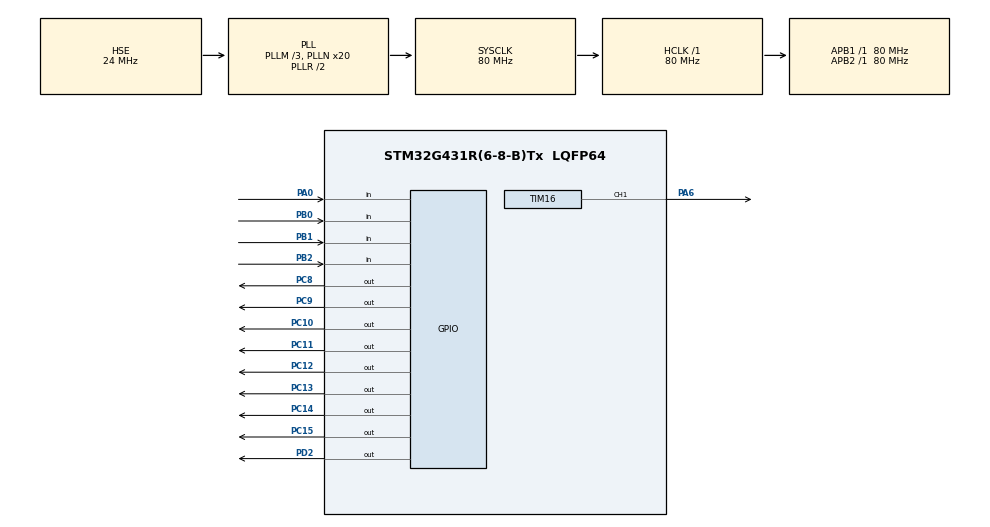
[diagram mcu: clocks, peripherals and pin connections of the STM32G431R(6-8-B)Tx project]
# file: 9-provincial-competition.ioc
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Mcu.Family=STM32G4
Mcu.Name=STM32G431R(6-8-B)Tx
Mcu.Package=LQFP64
NVIC.PriorityGroup=NVIC_PRIORITYGROUP_4
NVIC.TIM2_IRQn=true\:0\:0\:false\:false\:true\:true\:true\:true
NVIC.TIM4_IRQn=true\:0\:0\:false\:false\:true\:true\:true\:true
PA0.GPIO_PuPd=GPIO_PULLUP
PA0.Signal=GPIO_Input
PA13.Mode=Serial_Wire
PA13.Signal=SYS_JTMS-SWDIO
PA14.Mode=Serial_Wire
PA14.Signal=SYS_JTCK-SWCLK
PA6.Signal=S_TIM16_CH1
PB0.GPIO_PuPd=GPIO_PULLUP
PB0.Signal=GPIO_Input
PB1.GPIO_PuPd=GPIO_PULLUP
PB1.Signal=GPIO_Input
PB2.GPIO_PuPd=GPIO_PULLUP
PB2.Signal=GPIO_Input
PC10.PinState=GPIO_PIN_SET
PC10.Signal=GPIO_Output
PC11.PinState=GPIO_PIN_SET
PC11.Signal=GPIO_Output
PC12.PinState=GPIO_PIN_SET
PC12.Signal=GPIO_Output
PC13.PinState=GPIO_PIN_SET
PC13.Signal=GPIO_Output
PC14-OSC32_IN.PinState=GPIO_PIN_SET
PC14-OSC32_IN.Signal=GPIO_Output
PC15-OSC32_OUT.PinState=GPIO_PIN_SET
PC15-OSC32_OUT.Signal=GPIO_Output
PC8.PinState=GPIO_PIN_SET
PC8.Signal=GPIO_Output
PC9.PinState=GPIO_PIN_SET
PC9.Signal=GPIO_Output
PD2.Signal=GPIO_Output
PF0-OSC_IN.Mode=HSE-External-Oscillator
PF0-OSC_IN.Signal=RCC_OSC_IN
PF1-OSC_OUT.Mode=HSE-External-Oscillator
PF1-OSC_OUT.Signal=RCC_OSC_OUT
ProjectManager.HeapSize=0x200
ProjectManager.StackSize=0x400
ProjectManager.TargetToolchain=MDK-ARM V5.32
RCC.ADC12Freq_Value=80000000
RCC.AHBFreq_Value=80000000
RCC.APB1Freq_Value=80000000
RCC.APB1TimFreq_Value=80000000
RCC.APB2Freq_Value=80000000
RCC.APB2TimFreq_Value=80000000
RCC.CortexFreq_Value=80000000
RCC.EXTERNAL_CLOCK_VALUE=12288000
RCC.HCLKFreq_Value=80000000
RCC.HSE_VALUE=24000000
RCC.HSI48_VALUE=48000000
RCC.HSI_VALUE=16000000
RCC.LSE_VALUE=32768
RCC.PLLM=RCC_PLLM_DIV3
RCC.PLLN=20
RCC.PLLSourceVirtual=RCC_PLLSOURCE_HSE
RCC.RTCClockSelection=RCC_RTCCLKSOURCE_HSE_DIV32
RCC.SYSCLKFreq_VALUE=80000000
RCC.SYSCLKSource=RCC_SYSCLKSOURCE_PLLCLK
RCC.USBFreq_Value=80000000
RCC.VCOOutputFreq_Value=160000000
SH.S_TIM16_CH1.0=TIM16_CH1,PWM Generation1 CH1
TIM16.Channel=TIM_CHANNEL_1
TIM16.PeriodNoDither=100-1
TIM16.Prescaler=800-1
TIM2.PeriodNoDither=10000-1
TIM2.Prescaler=4000-1
TIM3.PeriodNoDither=65535
TIM3.Prescaler=8000-1
TIM4.PeriodNoDither=10000-1
TIM4.Prescaler=8000-1
VP_SYS_VS_DBSignals.Mode=DisableDeadBatterySignals
VP_TIM16_VS_ClockSourceINT.Mode=Enable_Timer
VP_TIM2_VS_ClockSourceINT.Mode=Internal
VP_TIM3_VS_ClockSourceINT.Mode=Internal
VP_TIM4_VS_ClockSourceINT.Mode=Internal
board=custom

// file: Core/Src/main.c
/* USER CODE BEGIN Header */
/**
  ******************************************************************************
  * @file           : main.c
  * @brief          : Main program body
  ******************************************************************************
  * @attention
  *
  * Copyright (c) 2025 STMicroelectronics.
  * All rights reserved.
  *
  * This software is licensed under terms that can be found in the LICENSE file
  * in the root directory of this software component.
  * If no LICENSE file comes with this software, it is provided AS-IS.
  *
  ******************************************************************************
  */
/* USER CODE END Header */
#include "main.h"
#include "tim.h"
#include "gpio.h"

/* USER CODE BEGIN Includes */
#include "stdio.h"
#include "stdint.h"
#include "string.h"
#include "lcd.h"
#include "i2c_hal.h"
/* USER CODE END Includes */

/* USER CODE BEGIN PV */
char text[20];
char* state[4] = {"Standby", "Running", "Pause", "Setting"};
uint8_t page=1; // 定义显示的LCD页码
uint8_t num[3]; // 存储时间
uint8_t tim_state, tim_temp;  // 标识定时器工作状态 0-关闭 1-开启 2-暂停 3-设置
uint8_t key_val, key_up, key_down, key_last_val;
uint8_t led_mode;
uint8_t first_1=1, first_2=1, first_3=1, first_4=1, first_5=1;  // 记录是否第一次
uint8_t B2_flag;  // 记录指向哪一个 0、1、2
uint8_t hours, minutes, seconds;
/* USER CODE END PV */

void SystemClock_Config(void);
/* USER CODE BEGIN PFP */
void LCD_Proc(void);
void KEY_Proc(void);
void TIM_Proc(void);
void LED_Show(uint8_t led, uint8_t led_mode);
/* USER CODE END PFP */

int main(void)
{

  /* MCU Configuration--------------------------------------------------------*/

  /* Reset of all peripherals, Initializes the Flash interface and the Systick. */
  HAL_Init();

  /* Configure the system clock */
  SystemClock_Config();

  /* Initialize all configured peripherals */
  MX_GPIO_Init();
  MX_TIM2_Init();
  MX_TIM3_Init();
  MX_TIM16_Init();
  MX_TIM4_Init();
  /* USER CODE BEGIN 2 */
  /*    TIM2-----用于LED
        TIM3-----用于按键
        TIM4-----用于计时
        TIM16----用于PWM PA6
  */
    // LCD
    LCD_Init();
    LCD_Clear(Black);
    LCD_SetBackColor(Black);
    LCD_SetTextColor(White);
    // I2C
    I2CInit();
    // TIM
    HAL_TIM_Base_Start(&htim3);
  /* USER CODE END 2 */

  /* Infinite loop */
  /* USER CODE BEGIN WHILE */
  while (1)
  {
      LCD_Proc();
      KEY_Proc();
      TIM_Proc();
    /* USER CODE END WHILE */

  }
}

void SystemClock_Config(void)
{
  RCC_OscInitTypeDef RCC_OscInitStruct = {0};
  RCC_ClkInitTypeDef RCC_ClkInitStruct = {0};

  /** Configure the main internal regulator output voltage
  */
  HAL_PWREx_ControlVoltageScaling(PWR_REGULATOR_VOLTAGE_SCALE1);

  /** Initializes the RCC Oscillators according to the specified parameters
  * in the RCC_OscInitTypeDef structure.
  */
  RCC_OscInitStruct.OscillatorType = RCC_OSCILLATORTYPE_HSE;
  RCC_OscInitStruct.HSEState = RCC_HSE_ON;
  RCC_OscInitStruct.PLL.PLLState = RCC_PLL_ON;
  RCC_OscInitStruct.PLL.PLLSource = RCC_PLLSOURCE_HSE;
  RCC_OscInitStruct.PLL.PLLM = RCC_PLLM_DIV3;
  RCC_OscInitStruct.PLL.PLLN = 20;
  RCC_OscInitStruct.PLL.PLLP = RCC_PLLP_DIV2;
  RCC_OscInitStruct.PLL.PLLQ = RCC_PLLQ_DIV2;
  RCC_OscInitStruct.PLL.PLLR = RCC_PLLR_DIV2;
  if (HAL_RCC_OscConfig(&RCC_OscInitStruct) != HAL_OK)
  {
    Error_Handler();
  }

  /** Initializes the CPU, AHB and APB buses clocks
  */
  RCC_ClkInitStruct.ClockType = RCC_CLOCKTYPE_HCLK|RCC_CLOCKTYPE_SYSCLK
                              |RCC_CLOCKTYPE_PCLK1|RCC_CLOCKTYPE_PCLK2;
  RCC_ClkInitStruct.SYSCLKSource = RCC_SYSCLKSOURCE_PLLCLK;
  RCC_ClkInitStruct.AHBCLKDivider = RCC_SYSCLK_DIV1;
  RCC_ClkInitStruct.APB1CLKDivider = RCC_HCLK_DIV1;
  RCC_ClkInitStruct.APB2CLKDivider = RCC_HCLK_DIV1;

  if (HAL_RCC_ClockConfig(&RCC_ClkInitStruct, FLASH_LATENCY_2) != HAL_OK)
  {
    Error_Handler();
  }
}

/* USER CODE BEGIN 4 */
void LED_Show(uint8_t led, uint8_t led_mode){
    HAL_GPIO_WritePin(GPIOC, 0xfe<<8, GPIO_PIN_SET);
    if(led_mode){
        HAL_GPIO_WritePin(GPIOC, led<<8, GPIO_PIN_RESET);
        HAL_GPIO_WritePin(GPIOD, GPIO_PIN_2, GPIO_PIN_SET);
        HAL_GPIO_WritePin(GPIOD, GPIO_PIN_2, GPIO_PIN_RESET);
    }else{
        HAL_GPIO_WritePin(GPIOC, led<<8, GPIO_PIN_SET);
        HAL_GPIO_WritePin(GPIOD, GPIO_PIN_2, GPIO_PIN_SET);
        HAL_GPIO_WritePin(GPIOD, GPIO_PIN_2, GPIO_PIN_RESET);
    }
}
void LCD_Proc(void){
    if(page==1){
        if(first_1){
            EEPROM_Read(0, num);
            first_1=0;
        }
        sprintf(text, "    No %d            ", page);
        LCD_DisplayStringLine(Line2, (uint8_t*)text);
        sprintf(text, "      %s      ", state[tim_state]);
        LCD_DisplayStringLine(Line6, (uint8_t*)text);
        if(tim_state==3 && B2_flag==0){
            LCD_SetBackColor(Red);
        }else{
            LCD_SetBackColor(Black);
        }
        LCD_DisplayChar(Line4 , (320 - (16 * 6)) , num[0]/10 + 0x30);
        LCD_DisplayChar(Line4 , (320 - (16 * 7)) , num[0]%10 + 0x30);
        if(tim_state==3 && B2_flag==1){
            LCD_SetBackColor(Red);
        }else{
            LCD_SetBackColor(Black);
        }
        LCD_DisplayChar(Line4 , (320 - (16 * 9)) , num[1]/10 + 0x30);
        LCD_DisplayChar(Line4 , (320 - (16 * 10)) , num[1]%10 + 0x30);
        if(tim_state==3 && B2_flag==2){
            LCD_SetBackColor(Red);
        }else{
            LCD_SetBackColor(Black);
        }
        LCD_DisplayChar(Line4 , (320 - (16 * 12)) , num[2]/10 + 0x30);
        LCD_DisplayChar(Line4 , (320 - (16 * 13)) , num[2]%10 + 0x30);
        LCD_SetBackColor(Black);
        LCD_DisplayChar(Line4 , (320 - (16 * 8)) , ':');
        LCD_DisplayChar(Line4 , (320 - (16 * 11)) , ':');
    }
    if(page==2){
        if(first_2){
            EEPROM_Read(3, num);
            first_2=0;
        }
        sprintf(text, "    No %d            ", page);
        LCD_DisplayStringLine(Line2, (uint8_t*)text);
        sprintf(text, "      %s      ", state[tim_state]);
        LCD_DisplayStringLine(Line6, (uint8_t*)text);
        if(tim_state==3 && B2_flag==0){
            LCD_SetBackColor(Red);
        }else{
            LCD_SetBackColor(Black);
        }
        LCD_DisplayChar(Line4 , (320 - (16 * 6)) , num[0]/10 + 0x30);
        LCD_DisplayChar(Line4 , (320 - (16 * 7)) , num[0]%10 + 0x30);
        if(tim_state==3 && B2_flag==1){
            LCD_SetBackColor(Red);
        }else{
            LCD_SetBackColor(Black);
        }
        LCD_DisplayChar(Line4 , (320 - (16 * 9)) , num[1]/10 + 0x30);
        LCD_DisplayChar(Line4 , (320 - (16 * 10)) , num[1]%10 + 0x30);
        if(tim_state==3 && B2_flag==2){
            LCD_SetBackColor(Red);
        }else{
            LCD_SetBackColor(Black);
        }
        LCD_DisplayChar(Line4 , (320 - (16 * 12)) , num[2]/10 + 0x30);
        LCD_DisplayChar(Line4 , (320 - (16 * 13)) , num[2]%10 + 0x30);
        LCD_SetBackColor(Black);
        LCD_DisplayChar(Line4 , (320 - (16 * 8)) , ':');
        LCD_DisplayChar(Line4 , (320 - (16 * 11)) , ':');
    }
    if(page==3){
        if(first_3){
            EEPROM_Read(6, num);
            first_3=0;
        }
        sprintf(text, "    No %d            ", page);
        LCD_DisplayStringLine(Line2, (uint8_t*)text);
        sprintf(text, "      %s      ", state[tim_state]);
        LCD_DisplayStringLine(Line6, (uint8_t*)text);
        if(tim_state==3 && B2_flag==0){
            LCD_SetBackColor(Red);
        }else{
            LCD_SetBackColor(Black);
        }
        LCD_DisplayChar(Line4 , (320 - (16 * 6)) , num[0]/10 + 0x30);
        LCD_DisplayChar(Line4 , (320 - (16 * 7)) , num[0]%10 + 0x30);
        if(tim_state==3 && B2_flag==1){
            LCD_SetBackColor(Red);
        }else{
            LCD_SetBackColor(Black);
        }
        LCD_DisplayChar(Line4 , (320 - (16 * 9)) , num[1]/10 + 0x30);
        LCD_DisplayChar(Line4 , (320 - (16 * 10)) , num[1]%10 + 0x30);
        if(tim_state==3 && B2_flag==2){
            LCD_SetBackColor(Red);
        }else{
            LCD_SetBackColor(Black);
        }
        LCD_DisplayChar(Line4 , (320 - (16 * 12)) , num[2]/10 + 0x30);
        LCD_DisplayChar(Line4 , (320 - (16 * 13)) , num[2]%10 + 0x30);
        LCD_SetBackColor(Black);
        LCD_DisplayChar(Line4 , (320 - (16 * 8)) , ':');
        LCD_DisplayChar(Line4 , (320 - (16 * 11)) , ':');
    }
    if(page==4){
        if(first_4){
            EEPROM_Read(9, num);
            first_4=0;
        }
        sprintf(text, "    No %d            ", page);
        LCD_DisplayStringLine(Line2, (uint8_t*)text);
        sprintf(text, "      %s      ", state[tim_state]);
        LCD_DisplayStringLine(Line6, (uint8_t*)text);
        if(tim_state==3 && B2_flag==0){
            LCD_SetBackColor(Red);
        }else{
            LCD_SetBackColor(Black);
        }
        LCD_DisplayChar(Line4 , (320 - (16 * 6)) , num[0]/10 + 0x30);
        LCD_DisplayChar(Line4 , (320 - (16 * 7)) , num[0]%10 + 0x30);
        if(tim_state==3 && B2_flag==1){
            LCD_SetBackColor(Red);
        }else{
            LCD_SetBackColor(Black);
        }
        LCD_DisplayChar(Line4 , (320 - (16 * 9)) , num[1]/10 + 0x30);
        LCD_DisplayChar(Line4 , (320 - (16 * 10)) , num[1]%10 + 0x30);
        if(tim_state==3 && B2_flag==2){
            LCD_SetBackColor(Red);
        }else{
            LCD_SetBackColor(Black);
        }
        LCD_DisplayChar(Line4 , (320 - (16 * 12)) , num[2]/10 + 0x30);
        LCD_DisplayChar(Line4 , (320 - (16 * 13)) , num[2]%10 + 0x30);
        LCD_SetBackColor(Black);
        LCD_DisplayChar(Line4 , (320 - (16 * 8)) , ':');
        LCD_DisplayChar(Line4 , (320 - (16 * 11)) , ':');
    }
    if(page==5){
        if(first_5){
            EEPROM_Read(12, num);
            first_5=0;
        }
        sprintf(text, "    No %d            ", page);
        LCD_DisplayStringLine(Line2, (uint8_t*)text);
        sprintf(text, "      %s      ", state[tim_state]);
        LCD_DisplayStringLine(Line6, (uint8_t*)text);
        if(tim_state==3 && B2_flag==0){
            LCD_SetBackColor(Red);
        }else{
            LCD_SetBackColor(Black);
        }
        LCD_DisplayChar(Line4 , (320 - (16 * 6)) , num[0]/10 + 0x30);
        LCD_DisplayChar(Line4 , (320 - (16 * 7)) , num[0]%10 + 0x30);
        if(tim_state==3 && B2_flag==1){
            LCD_SetBackColor(Red);
        }else{
            LCD_SetBackColor(Black);
        }
        LCD_DisplayChar(Line4 , (320 - (16 * 9)) , num[1]/10 + 0x30);
        LCD_DisplayChar(Line4 , (320 - (16 * 10)) , num[1]%10 + 0x30);
        if(tim_state==3 && B2_flag==2){
            LCD_SetBackColor(Red);
        }else{
            LCD_SetBackColor(Black);
        }
        LCD_DisplayChar(Line4 , (320 - (16 * 12)) , num[2]/10 + 0x30);
        LCD_DisplayChar(Line4 , (320 - (16 * 13)) , num[2]%10 + 0x30);
        LCD_SetBackColor(Black);
        LCD_DisplayChar(Line4 , (320 - (16 * 8)) , ':');
        LCD_DisplayChar(Line4 , (320 - (16 * 11)) , ':');
    }
}
uint8_t KEY_Scan(){
    uint8_t key_value;
    if(HAL_GPIO_ReadPin(GPIOB, GPIO_PIN_0)==GPIO_PIN_RESET){
        key_value=1;
    }
    if(HAL_GPIO_ReadPin(GPIOB, GPIO_PIN_1)==GPIO_PIN_RESET){
        key_value=2;
    }
    if(HAL_GPIO_ReadPin(GPIOB, GPIO_PIN_2)==GPIO_PIN_RESET){
        key_value=3;
    }
    if(HAL_GPIO_ReadPin(GPIOA, GPIO_PIN_0)==GPIO_PIN_RESET){
        key_value=4;
    }
    return key_value;
}
void KEY_Proc(){
    key_val=KEY_Scan();
    key_down=key_val&(key_last_val^key_val);
    key_up=~key_val&(key_last_val^key_val);
    tim_temp=tim_state;
    if(key_val==1 && key_last_val==0){
        page++;
        if(page>5) page=1;
        if(page==1){
            first_1=1;
        }
        if(page==2){
            first_2=1;
        }
        if(page==3){
            first_3=1;
        }
        if(page==4){
            first_4=1;
        }
        if(page==5){
            first_5=1;
        }
        LCD_Clear(Black);
    }
    if(key_down && key_down!=1){
        TIM3->CNT=0;
    }
    if(TIM3->CNT<8000){  // 短按 0.8s
        if(key_up == 2){
            tim_state=3;
            B2_flag++;
            if(B2_flag>2) B2_flag=0;
        }
        if(key_up == 3){
            if(B2_flag==0){  // 时
                num[0]++;
                if(num[0]>23) num[0]=0;
            }
            if(B2_flag==1){  // 分
                num[1]++;
                if(num[1]>59) num[1]=0;
            }
            if(B2_flag==2){  // 秒
                num[2]++;
                if(num[2]>59) num[2]=0;
            }
        }
        if(key_up == 4){
            if(tim_state==0){
                tim_state=1;
            }
            if(tim_state==1 && tim_temp==1){
                tim_state=2;
            }
            if(tim_state==2 && tim_temp==2){
                tim_state=1;
            }
        }
    }else{  // 长按 0.8s
        if(key_val == 2){
            hours=num[0];minutes=num[1];seconds=num[2];
            if(page==1){
                EEPROM_Write(0, hours);
                EEPROM_Write(1, minutes);
                EEPROM_Write(2, seconds);
                first_1=1;
            }
            if(page==2){
                EEPROM_Write(3, hours);
                EEPROM_Write(4, minutes);
                EEPROM_Write(5, seconds);
                first_2=1;
            }
            if(page==3){
                EEPROM_Write(6, hours);
                EEPROM_Write(7, minutes);
                EEPROM_Write(8, seconds);
                first_3=1;
            }
            if(page==4){
                EEPROM_Write(9, hours);
                EEPROM_Write(10, minutes);
                EEPROM_Write(11, seconds);
                first_4=1;
            }
            if(page==5){
                EEPROM_Write(12, hours);
                EEPROM_Write(13, minutes);
                EEPROM_Write(14, seconds);
                first_5=1;
            }
            tim_state=0;
        }
        if(key_val == 3){
            while(HAL_GPIO_ReadPin(GPIOB, GPIO_PIN_2)==GPIO_PIN_RESET){
                LCD_Proc();
                if(B2_flag==0){  // 时
                    num[0]++;
                    if(num[0]>23) num[0]=0;
                }
                if(B2_flag==1){  // 分
                    num[1]++;
                    if(num[1]>59) num[1]=0;
                }
                if(B2_flag==2){  // 秒
                    num[2]++;
                    if(num[2]>59) num[2]=0;
                }
            }
        }
        if(key_val == 4){
            tim_state=0;
        }
    }
    key_last_val=key_val;
}
void TIM_Proc(){
    if(tim_state==1){
        HAL_TIM_Base_Start_IT(&htim4);
        HAL_TIM_Base_Start_IT(&htim2);
        LED_Show(0x01, led_mode);
        HAL_TIM_PWM_Start(&htim16, TIM_CHANNEL_1);
        TIM16->CCR1=80;
    }else{
        HAL_TIM_Base_Stop_IT(&htim2);
        LED_Show(0x01, 0);
        led_mode=0;
        TIM2->CNT=0;
        HAL_TIM_PWM_Stop(&htim16, TIM_CHANNEL_1);
        HAL_TIM_Base_Stop_IT(&htim4);
    }
    if(num[0] == 0 && num[1] == 0 && num[2] == 0){
        tim_state=0;
        HAL_TIM_Base_Stop_IT(&htim2);
        LED_Show(0x01, 0);
        led_mode=0;
        TIM2->CNT=0;
        HAL_TIM_PWM_Stop(&htim16, TIM_CHANNEL_1);
        HAL_TIM_Base_Stop_IT(&htim4);
    }
}
void HAL_TIM_PeriodElapsedCallback(TIM_HandleTypeDef *htim){
    if(htim->Instance==TIM2){
        led_mode ^= 1;
    }
    if(htim->Instance==TIM4){
        num[2]--;
        if(num[2]==255){
            num[2]=59;
            num[1]--;
        }
        if(num[1]==255){
            num[1]=59;
            num[0]--;
        }
    }
}
/* USER CODE END 4 */

void Error_Handler(void)
{
  __disable_irq();
  while (1)
  {
  }
}
